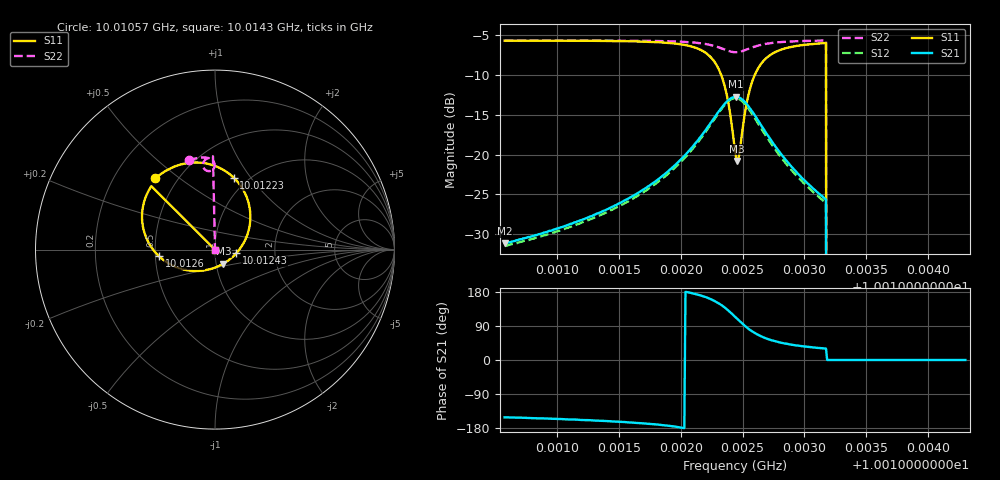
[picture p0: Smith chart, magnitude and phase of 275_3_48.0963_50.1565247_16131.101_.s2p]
#  HZ  S  RI  R  50.00
! Rohde & Schwarz Vector Network Analyzer
! Rohde-Schwarz,ZNB20-2Port,1311601062101988,3.16
! Created: UTC 12/23/2023, 4:02:12 AM
! freq[Hz]  re:S11  im:S11  re:S21  im:S21  re:S12  im:S12  re:S22  im:S22
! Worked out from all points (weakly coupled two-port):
!   401 points, 10.01057 GHz to 10.0143 GHz, reference 50 ohm
!   highest |S21| = -12.75 dB at 10.01245 GHz (marker M1); lowest = -31.1 dB at 10.01057 GHz (marker M2)
!   lowest |S11| = -20.8 dB at 10.01246 GHz (marker M3), VSWR 1.20, Z = 54.2 - j8.57 ohm
!   |S11| at or under -10 dB: 10.01233 GHz to 10.0126 GHz (272.7 kHz wide, 0.00272 % of centre); 10.01318 GHz to end of sweep
!   |S22| runs from - to -5.7 dB; largest |S21 - S12| = 0.011
!   S11 on the Smith chart (normalised r, x): 10.01057 GHz: 0.38, +0.41; 10.01223 GHz: 0.86, +0.83; 10.01243 GHz: 1.27, -0.05; 10.0126 GHz: 0.52, -0.04; 10.0143 GHz: 1.00, +0.00
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1.0010575e10  -0.3318 0.3979  -0.0243 -0.0133  -0.0226 -0.014  -0.1462 0.4985
1.0011199e10  -0.2746 0.4384  -0.0362 -0.0143  -0.034 -0.0158  -0.1037 0.5091
1.0011824e10  -0.157 0.4816  -0.0696 -0.0113  -0.0665 -0.0148  -0.0537 0.5131
1.0012094e10  -0.0239 0.4742  -0.1113 0.00746  -0.1081 0.000973  -0.0239 0.5051
1.0012234e10  0.1038 0.4014  -0.147 0.048  -0.1458 0.0394  -0.0064 0.488
1.0012346e10  0.1961 0.2078  -0.1585 0.1282  -0.1615 0.1187  -0.00357 0.4588
1.0012383e10  0.1873 0.1062  -0.1439 0.165  -0.1484 0.1558  -0.0104 0.4476
1.0012429e10  0.1182 -0.021  -0.1043 0.2045  -0.1103 0.1966  -0.0256 0.4383
1.0012439e10  0.0969 -0.0421  -0.0945 0.21  -0.1004 0.2024  -0.0295 0.4376
1.0012448e10  0.0728 -0.0615  -0.0836 0.2146  -0.0895 0.2072  -0.0334 0.4372
1.0012457e10  0.0469 -0.0783  -0.0728 0.218  -0.0786 0.2108  -0.0371 0.4373
1.0012476e10  -0.00879 -0.1037  -0.0502 0.2216  -0.0551 0.2151  -0.0446 0.4387
1.0012513e10  -0.1229 -0.1187  -0.00605 0.2159  -0.0114 0.2095  -0.0568 0.4462
1.0012551e10  -0.2214 -0.0958  0.0285 0.1977  0.022 0.1917  -0.0644 0.457
1.0012597e10  -0.3114 -0.0374  0.0559 0.1681  0.0495 0.1629  -0.0674 0.4706
1.0012662e10  -0.3778 0.0541  0.0723 0.1287  0.0653 0.1251  -0.0641 0.4862
1.0012756e10  -0.4058 0.1594  0.0735 0.0887  0.0673 0.0867  -0.0543 0.5003
1.0013063e10  -0.3716 0.325  0.0517 0.0343  0.0476 0.0347  -0.0213 0.5169
1.0013156e10  -0.3572 0.3494  0.0462 0.0274  0.0426 0.0282  -0.0128 0.5189
1.0013203e10  0 0  0 0  0 0  0 0
1.0013687e10  0 0  0 0  0 0  0 0
1.0014303e10  0 0  0 0  0 0  0 0
